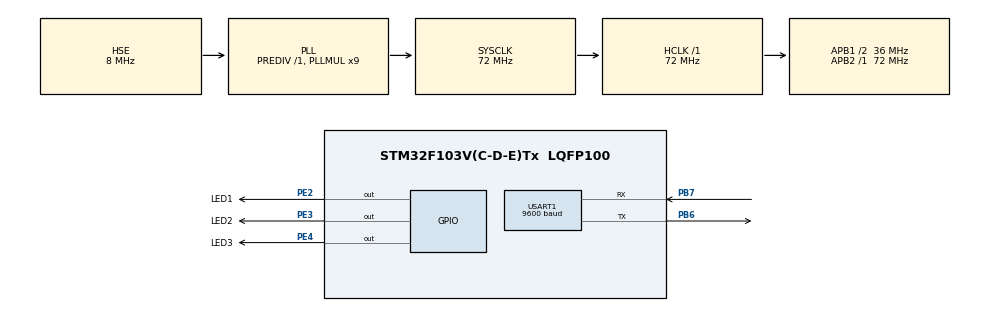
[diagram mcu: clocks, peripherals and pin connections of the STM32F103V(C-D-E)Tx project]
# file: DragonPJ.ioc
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Mcu.Family=STM32F1
Mcu.Name=STM32F103V(C-D-E)Tx
Mcu.Package=LQFP100
NVIC.PriorityGroup=NVIC_PRIORITYGROUP_4
OSC_IN.Mode=HSE-External-Oscillator
OSC_IN.Signal=RCC_OSC_IN
OSC_OUT.Mode=HSE-External-Oscillator
OSC_OUT.Signal=RCC_OSC_OUT
PA13.Mode=Serial_Wire
PA13.Signal=SYS_JTMS-SWDIO
PA14.Mode=Serial_Wire
PA14.Signal=SYS_JTCK-SWCLK
PB6.Mode=Asynchronous
PB6.Signal=USART1_TX
PB7.Mode=Asynchronous
PB7.Signal=USART1_RX
PE2.GPIO_Label=LED1
PE2.Signal=GPIO_Output
PE3.GPIO_Label=LED2
PE3.Signal=GPIO_Output
PE4.GPIO_Label=LED3
PE4.Signal=GPIO_Output
ProjectManager.HeapSize=0x200
ProjectManager.StackSize=0x400
ProjectManager.TargetToolchain=TrueSTUDIO
RCC.AHBFreq_Value=72000000
RCC.APB1CLKDivider=RCC_HCLK_DIV2
RCC.APB1Freq_Value=36000000
RCC.APB1TimFreq_Value=72000000
RCC.APB2Freq_Value=72000000
RCC.APB2TimFreq_Value=72000000
RCC.HCLKFreq_Value=72000000
RCC.PLLMUL=RCC_PLL_MUL9
RCC.PLLSourceVirtual=RCC_PLLSOURCE_HSE
RCC.RTCClockSelection=RCC_RTCCLKSOURCE_HSE_DIV128
RCC.SYSCLKFreq_VALUE=72000000
RCC.SYSCLKSource=RCC_SYSCLKSOURCE_PLLCLK
RCC.USBFreq_Value=72000000
USART1.BaudRate=9600
USART1.VirtualMode=VM_ASYNC
USART1.WordLength=WORDLENGTH_8B
board=custom

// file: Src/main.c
/* USER CODE BEGIN Header */
/**
  ******************************************************************************
  * @file           : main.c
  * @brief          : Main program body
  ******************************************************************************
  * @attention
  *
  * <h2><center>&copy; Copyright (c) 2019 STMicroelectronics.
  * All rights reserved.</center></h2>
  *
  * This software component is licensed by ST under BSD 3-Clause license,
  * the "License"; You may not use this file except in compliance with the
  * License. You may obtain a copy of the License at:
  *                        opensource.org/licenses/BSD-3-Clause
  *
  ******************************************************************************
  */
/* USER CODE END Header */

#include "main.h"

UART_HandleTypeDef huart1;

/* USER CODE BEGIN PV */
/* Private variables ---------------------------------------------------------*/

/* USER CODE END PV */

void SystemClock_Config(void);
static void MX_GPIO_Init(void);
static void MX_USART1_UART_Init(void);
/* USER CODE BEGIN PFP */
/* Private function prototypes -----------------------------------------------*/

/* USER CODE END PFP */

/* USER CODE BEGIN 0 */

#ifdef __GNUC__
int _write(int file, uint8_t *ptr, int len)
{
	HAL_UART_Transmit(&huart1, ptr, len, 1000);
	return len;
}
#elif(__ICCARM__||__CC_ARM)
int fputc(int c, FILE *stream)
{
	HAL_UART_Transmit(&huart1,(uint8_t*)&c,1,1000);
	return c;
}
#endif

/* USER CODE END 0 */

int main(void)
{

  /* MCU Configuration--------------------------------------------------------*/

  /* Reset of all peripherals, Initializes the Flash interface and the Systick. */
  HAL_Init();

  /* Configure the system clock */
  SystemClock_Config();

  /* Initialize all configured peripherals */
  MX_GPIO_Init();
  MX_USART1_UART_Init();
  /* USER CODE BEGIN 2 */

  printf("USART_Main Run Test! \r\n");

  /* USER CODE END 2 */

  /* Infinite loop */
  /* USER CODE BEGIN WHILE */
  while (1)
  {
	  HAL_Delay(1000);
	  HAL_GPIO_TogglePin(LED1_GPIO_Port, LED1_Pin);
	  HAL_GPIO_TogglePin(LED2_GPIO_Port, LED2_Pin);
	  HAL_GPIO_TogglePin(LED3_GPIO_Port, LED3_Pin);
	  printf("Hellow");
    /* USER CODE END WHILE */

  }
}

void SystemClock_Config(void)
{
  RCC_OscInitTypeDef RCC_OscInitStruct = {0};
  RCC_ClkInitTypeDef RCC_ClkInitStruct = {0};

  /** Initializes the CPU, AHB and APB busses clocks
  */
  RCC_OscInitStruct.OscillatorType = RCC_OSCILLATORTYPE_HSE;
  RCC_OscInitStruct.HSEState = RCC_HSE_ON;
  RCC_OscInitStruct.HSEPredivValue = RCC_HSE_PREDIV_DIV1;
  RCC_OscInitStruct.HSIState = RCC_HSI_ON;
  RCC_OscInitStruct.PLL.PLLState = RCC_PLL_ON;
  RCC_OscInitStruct.PLL.PLLSource = RCC_PLLSOURCE_HSE;
  RCC_OscInitStruct.PLL.PLLMUL = RCC_PLL_MUL9;
  if (HAL_RCC_OscConfig(&RCC_OscInitStruct) != HAL_OK)
  {
    Error_Handler();
  }
  /** Initializes the CPU, AHB and APB busses clocks
  */
  RCC_ClkInitStruct.ClockType = RCC_CLOCKTYPE_HCLK|RCC_CLOCKTYPE_SYSCLK
                              |RCC_CLOCKTYPE_PCLK1|RCC_CLOCKTYPE_PCLK2;
  RCC_ClkInitStruct.SYSCLKSource = RCC_SYSCLKSOURCE_PLLCLK;
  RCC_ClkInitStruct.AHBCLKDivider = RCC_SYSCLK_DIV1;
  RCC_ClkInitStruct.APB1CLKDivider = RCC_HCLK_DIV2;
  RCC_ClkInitStruct.APB2CLKDivider = RCC_HCLK_DIV1;

  if (HAL_RCC_ClockConfig(&RCC_ClkInitStruct, FLASH_LATENCY_2) != HAL_OK)
  {
    Error_Handler();
  }
}

static void MX_USART1_UART_Init(void)
{

  huart1.Instance = USART1;
  huart1.Init.BaudRate = 9600;
  huart1.Init.WordLength = UART_WORDLENGTH_8B;
  huart1.Init.StopBits = UART_STOPBITS_1;
  huart1.Init.Parity = UART_PARITY_NONE;
  huart1.Init.Mode = UART_MODE_TX_RX;
  huart1.Init.HwFlowCtl = UART_HWCONTROL_NONE;
  huart1.Init.OverSampling = UART_OVERSAMPLING_16;
  if (HAL_UART_Init(&huart1) != HAL_OK)
  {
    Error_Handler();
  }

}

static void MX_GPIO_Init(void)
{
  GPIO_InitTypeDef GPIO_InitStruct = {0};

  /* GPIO Ports Clock Enable */
  __HAL_RCC_GPIOE_CLK_ENABLE();
  __HAL_RCC_GPIOA_CLK_ENABLE();
  __HAL_RCC_GPIOB_CLK_ENABLE();

  /*Configure GPIO pin Output Level */
  HAL_GPIO_WritePin(GPIOE, LED1_Pin|LED2_Pin|LED3_Pin, GPIO_PIN_RESET);

  /*Configure GPIO pins : LED1_Pin LED2_Pin LED3_Pin */
  GPIO_InitStruct.Pin = LED1_Pin|LED2_Pin|LED3_Pin;
  GPIO_InitStruct.Mode = GPIO_MODE_OUTPUT_PP;
  GPIO_InitStruct.Pull = GPIO_NOPULL;
  GPIO_InitStruct.Speed = GPIO_SPEED_FREQ_LOW;
  HAL_GPIO_Init(GPIOE, &GPIO_InitStruct);

}

void Error_Handler(void)
{
  while(1)
  {
  }
}

/************************ (C) COPYRIGHT STMicroelectronics *****END OF FILE****/
